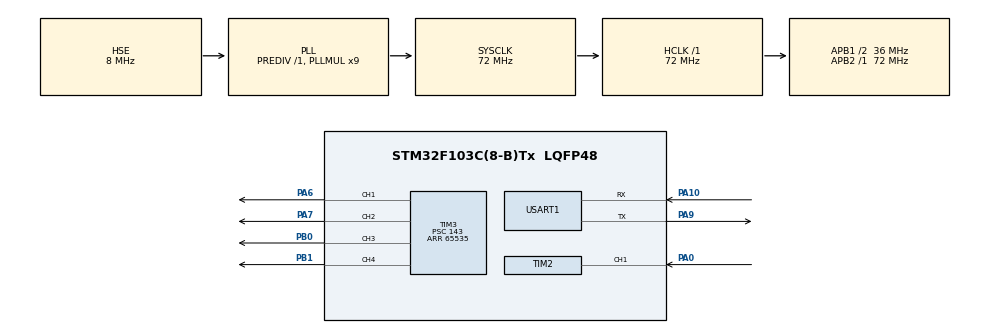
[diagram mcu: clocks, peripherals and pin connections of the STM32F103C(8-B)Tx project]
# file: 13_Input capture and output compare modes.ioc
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Mcu.Family=STM32F1
Mcu.Name=STM32F103C(8-B)Tx
Mcu.Package=LQFP48
NVIC.PriorityGroup=NVIC_PRIORITYGROUP_4
NVIC.TIM2_IRQn=true\:0\:0\:false\:false\:true\:true\:true\:true
NVIC.TIM3_IRQn=true\:0\:0\:false\:false\:true\:true\:true\:true
PA0-WKUP.Signal=S_TIM2_CH1_ETR
PA10.Mode=Asynchronous
PA10.Signal=USART1_RX
PA13.Mode=Serial_Wire
PA13.Signal=SYS_JTMS-SWDIO
PA14.Mode=Serial_Wire
PA14.Signal=SYS_JTCK-SWCLK
PA6.Signal=S_TIM3_CH1
PA7.Signal=S_TIM3_CH2
PA9.Mode=Asynchronous
PA9.Signal=USART1_TX
PB0.Signal=S_TIM3_CH3
PB1.Signal=S_TIM3_CH4
PD0-OSC_IN.Mode=HSE-External-Oscillator
PD0-OSC_IN.Signal=RCC_OSC_IN
PD1-OSC_OUT.Mode=HSE-External-Oscillator
PD1-OSC_OUT.Signal=RCC_OSC_OUT
ProjectManager.HeapSize=0x200
ProjectManager.StackSize=0x400
ProjectManager.TargetToolchain=STM32CubeIDE
RCC.AHBFreq_Value=72000000
RCC.APB1CLKDivider=RCC_HCLK_DIV2
RCC.APB1Freq_Value=36000000
RCC.APB1TimFreq_Value=72000000
RCC.APB2Freq_Value=72000000
RCC.APB2TimFreq_Value=72000000
RCC.HCLKFreq_Value=72000000
RCC.PLLMUL=RCC_PLL_MUL9
RCC.PLLSourceVirtual=RCC_PLLSOURCE_HSE
RCC.SYSCLKFreq_VALUE=72000000
RCC.SYSCLKSource=RCC_SYSCLKSOURCE_PLLCLK
RCC.USBFreq_Value=72000000
SH.S_TIM2_CH1_ETR.0=TIM2_CH1,Input_Capture1_from_TI1
SH.S_TIM3_CH1.0=TIM3_CH1,Output Compare1 CH1
SH.S_TIM3_CH2.0=TIM3_CH2,Output Compare2 CH2
SH.S_TIM3_CH3.0=TIM3_CH3,Output Compare3 CH3
SH.S_TIM3_CH4.0=TIM3_CH4,Output Compare4 CH4
TIM2.Channel-Input_Capture1_from_TI1=TIM_CHANNEL_1
TIM3.Channel-Output\ Compare1\ CH1=TIM_CHANNEL_1
TIM3.Channel-Output\ Compare2\ CH2=TIM_CHANNEL_2
TIM3.Channel-Output\ Compare3\ CH3=TIM_CHANNEL_3
TIM3.Channel-Output\ Compare4\ CH4=TIM_CHANNEL_4
TIM3.OC1Preload=DISABLE
TIM3.OC2Preload=DISABLE
TIM3.OC3Preload=DISABLE
TIM3.OC4Preload=DISABLE
TIM3.OCMode_1=TIM_OCMODE_TOGGLE
TIM3.OCMode_2=TIM_OCMODE_TOGGLE
TIM3.OCMode_3=TIM_OCMODE_TOGGLE
TIM3.OCMode_4=TIM_OCMODE_TOGGLE
TIM3.Period=65535
TIM3.Prescaler=143
TIM3.Pulse-Output\ Compare1\ CH1=2
TIM3.Pulse-Output\ Compare2\ CH2=2
TIM3.Pulse-Output\ Compare3\ CH3=2
TIM3.Pulse-Output\ Compare4\ CH4=2
USART1.VirtualMode=VM_ASYNC
VP_TIM2_VS_ClockSourceINT.Mode=Internal
VP_TIM3_VS_ClockSourceINT.Mode=Internal
board=custom

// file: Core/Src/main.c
/* USER CODE BEGIN Header */
/**
  ******************************************************************************
  * @file           : main.c
  * @brief          : Main program body
  ******************************************************************************
  * @attention
  *
  * Copyright (c) 2022 STMicroelectronics.
  * All rights reserved.
  *
  * This software is licensed under terms that can be found in the LICENSE file
  * in the root directory of this software component.
  * If no LICENSE file comes with this software, it is provided AS-IS.
  *
  ******************************************************************************
  */
/* USER CODE END Header */
#include "main.h"

/* USER CODE BEGIN Includes */
#include "stdio_usart.h"
/* USER CODE END Includes */

/* USER CODE BEGIN PD */
#define AwaitingCapture		0
#define FirstCapture		1
#define SecondCapture		2
#define F_CLK				72000000UL
/* USER CODE END PD */

 TIM_HandleTypeDef htim2;
TIM_HandleTypeDef htim3;

UART_HandleTypeDef huart1;

/* USER CODE BEGIN PV */
volatile uint8_t  captureState = AwaitingCapture;
volatile uint16_t TIM2_overFlowCnt = 0;
volatile uint32_t T1 = 0;
volatile uint32_t T2 = 0;
/* USER CODE END PV */

void SystemClock_Config(void);
static void MX_GPIO_Init(void);
static void MX_TIM2_Init(void);
static void MX_USART1_UART_Init(void);
static void MX_TIM3_Init(void);

int main(void)
{

  /* MCU Configuration--------------------------------------------------------*/

  /* Reset of all peripherals, Initializes the Flash interface and the Systick. */
  HAL_Init();

  /* Configure the system clock */
  SystemClock_Config();

  /* Initialize all configured peripherals */
  MX_GPIO_Init();
  MX_TIM2_Init();
  MX_USART1_UART_Init();
  MX_TIM3_Init();
  /* USER CODE BEGIN 2 */
  uint32_t Ticks = 0;
  uint32_t Frequency = 0;

  RetargetInit(&huart1);
  HAL_TIM_Base_Start_IT(&htim2);
  HAL_TIM_IC_Start_IT(&htim2, TIM_CHANNEL_1);
  HAL_TIM_Base_Start_IT(&htim3);
  HAL_TIM_OC_Start_IT(&htim3, TIM_CHANNEL_1);
  HAL_TIM_OC_Start_IT(&htim3, TIM_CHANNEL_2);
  HAL_TIM_OC_Start_IT(&htim3, TIM_CHANNEL_3);
  HAL_TIM_OC_Start_IT(&htim3, TIM_CHANNEL_4);

  printf("begin! \r\n");
  /* USER CODE END 2 */

  /* Infinite loop */
  /* USER CODE BEGIN WHILE */
  while (1)
  {
	  	// compute and print the input signal's frquency, whenever 2 captures occur
	  	if(captureState == SecondCapture)
	    {
	        Ticks = (T2 + (TIM2_overFlowCnt * 65536)) - T1;
	        Frequency = (uint32_t)(F_CLK/Ticks);
	        if(Frequency)
	        {
	        	printf("Frequency = %lu Hz Overflow count = %u\n\r", Frequency,TIM2_overFlowCnt);
	        }
	        captureState = AwaitingCapture;
	    }
    /* USER CODE END WHILE */

  }
}

void SystemClock_Config(void)
{
  RCC_OscInitTypeDef RCC_OscInitStruct = {0};
  RCC_ClkInitTypeDef RCC_ClkInitStruct = {0};

  /** Initializes the RCC Oscillators according to the specified parameters
  * in the RCC_OscInitTypeDef structure.
  */
  RCC_OscInitStruct.OscillatorType = RCC_OSCILLATORTYPE_HSE;
  RCC_OscInitStruct.HSEState = RCC_HSE_ON;
  RCC_OscInitStruct.HSEPredivValue = RCC_HSE_PREDIV_DIV1;
  RCC_OscInitStruct.HSIState = RCC_HSI_ON;
  RCC_OscInitStruct.PLL.PLLState = RCC_PLL_ON;
  RCC_OscInitStruct.PLL.PLLSource = RCC_PLLSOURCE_HSE;
  RCC_OscInitStruct.PLL.PLLMUL = RCC_PLL_MUL9;
  if (HAL_RCC_OscConfig(&RCC_OscInitStruct) != HAL_OK)
  {
    Error_Handler();
  }

  /** Initializes the CPU, AHB and APB buses clocks
  */
  RCC_ClkInitStruct.ClockType = RCC_CLOCKTYPE_HCLK|RCC_CLOCKTYPE_SYSCLK
                              |RCC_CLOCKTYPE_PCLK1|RCC_CLOCKTYPE_PCLK2;
  RCC_ClkInitStruct.SYSCLKSource = RCC_SYSCLKSOURCE_PLLCLK;
  RCC_ClkInitStruct.AHBCLKDivider = RCC_SYSCLK_DIV1;
  RCC_ClkInitStruct.APB1CLKDivider = RCC_HCLK_DIV2;
  RCC_ClkInitStruct.APB2CLKDivider = RCC_HCLK_DIV1;

  if (HAL_RCC_ClockConfig(&RCC_ClkInitStruct, FLASH_LATENCY_2) != HAL_OK)
  {
    Error_Handler();
  }
}

static void MX_TIM2_Init(void)
{

  TIM_ClockConfigTypeDef sClockSourceConfig = {0};
  TIM_MasterConfigTypeDef sMasterConfig = {0};
  TIM_IC_InitTypeDef sConfigIC = {0};

  htim2.Instance = TIM2;
  htim2.Init.Prescaler = 0;
  htim2.Init.CounterMode = TIM_COUNTERMODE_UP;
  htim2.Init.Period = 65535;
  htim2.Init.ClockDivision = TIM_CLOCKDIVISION_DIV1;
  htim2.Init.AutoReloadPreload = TIM_AUTORELOAD_PRELOAD_DISABLE;
  if (HAL_TIM_Base_Init(&htim2) != HAL_OK)
  {
    Error_Handler();
  }
  sClockSourceConfig.ClockSource = TIM_CLOCKSOURCE_INTERNAL;
  if (HAL_TIM_ConfigClockSource(&htim2, &sClockSourceConfig) != HAL_OK)
  {
    Error_Handler();
  }
  if (HAL_TIM_IC_Init(&htim2) != HAL_OK)
  {
    Error_Handler();
  }
  sMasterConfig.MasterOutputTrigger = TIM_TRGO_RESET;
  sMasterConfig.MasterSlaveMode = TIM_MASTERSLAVEMODE_DISABLE;
  if (HAL_TIMEx_MasterConfigSynchronization(&htim2, &sMasterConfig) != HAL_OK)
  {
    Error_Handler();
  }
  sConfigIC.ICPolarity = TIM_INPUTCHANNELPOLARITY_RISING;
  sConfigIC.ICSelection = TIM_ICSELECTION_DIRECTTI;
  sConfigIC.ICPrescaler = TIM_ICPSC_DIV1;
  sConfigIC.ICFilter = 0;
  if (HAL_TIM_IC_ConfigChannel(&htim2, &sConfigIC, TIM_CHANNEL_1) != HAL_OK)
  {
    Error_Handler();
  }

}

static void MX_TIM3_Init(void)
{

  TIM_ClockConfigTypeDef sClockSourceConfig = {0};
  TIM_MasterConfigTypeDef sMasterConfig = {0};
  TIM_OC_InitTypeDef sConfigOC = {0};

  htim3.Instance = TIM3;
  htim3.Init.Prescaler = 143;
  htim3.Init.CounterMode = TIM_COUNTERMODE_UP;
  htim3.Init.Period = 65535;
  htim3.Init.ClockDivision = TIM_CLOCKDIVISION_DIV1;
  htim3.Init.AutoReloadPreload = TIM_AUTORELOAD_PRELOAD_DISABLE;
  if (HAL_TIM_Base_Init(&htim3) != HAL_OK)
  {
    Error_Handler();
  }
  sClockSourceConfig.ClockSource = TIM_CLOCKSOURCE_INTERNAL;
  if (HAL_TIM_ConfigClockSource(&htim3, &sClockSourceConfig) != HAL_OK)
  {
    Error_Handler();
  }
  if (HAL_TIM_OC_Init(&htim3) != HAL_OK)
  {
    Error_Handler();
  }
  sMasterConfig.MasterOutputTrigger = TIM_TRGO_RESET;
  sMasterConfig.MasterSlaveMode = TIM_MASTERSLAVEMODE_DISABLE;
  if (HAL_TIMEx_MasterConfigSynchronization(&htim3, &sMasterConfig) != HAL_OK)
  {
    Error_Handler();
  }
  sConfigOC.OCMode = TIM_OCMODE_TOGGLE;
  sConfigOC.Pulse = 2;
  sConfigOC.OCPolarity = TIM_OCPOLARITY_HIGH;
  sConfigOC.OCFastMode = TIM_OCFAST_DISABLE;
  if (HAL_TIM_OC_ConfigChannel(&htim3, &sConfigOC, TIM_CHANNEL_1) != HAL_OK)
  {
    Error_Handler();
  }
  if (HAL_TIM_OC_ConfigChannel(&htim3, &sConfigOC, TIM_CHANNEL_2) != HAL_OK)
  {
    Error_Handler();
  }
  if (HAL_TIM_OC_ConfigChannel(&htim3, &sConfigOC, TIM_CHANNEL_3) != HAL_OK)
  {
    Error_Handler();
  }
  if (HAL_TIM_OC_ConfigChannel(&htim3, &sConfigOC, TIM_CHANNEL_4) != HAL_OK)
  {
    Error_Handler();
  }
  HAL_TIM_MspPostInit(&htim3);

}

static void MX_USART1_UART_Init(void)
{

  huart1.Instance = USART1;
  huart1.Init.BaudRate = 115200;
  huart1.Init.WordLength = UART_WORDLENGTH_8B;
  huart1.Init.StopBits = UART_STOPBITS_1;
  huart1.Init.Parity = UART_PARITY_NONE;
  huart1.Init.Mode = UART_MODE_TX_RX;
  huart1.Init.HwFlowCtl = UART_HWCONTROL_NONE;
  huart1.Init.OverSampling = UART_OVERSAMPLING_16;
  if (HAL_UART_Init(&huart1) != HAL_OK)
  {
    Error_Handler();
  }

}

static void MX_GPIO_Init(void)
{

  /* GPIO Ports Clock Enable */
  __HAL_RCC_GPIOD_CLK_ENABLE();
  __HAL_RCC_GPIOA_CLK_ENABLE();
  __HAL_RCC_GPIOB_CLK_ENABLE();

}

/* USER CODE BEGIN 4 */
/*********************  TIM2 (Input Capture)  ********************/
void HAL_TIM_IC_CaptureCallback(TIM_HandleTypeDef* htim)
{
    if(captureState == AwaitingCapture)
    {
    	TIM2_overFlowCnt = 0;
	    T1 = TIM2->CCR1;
        captureState = FirstCapture;
    }
    else if(captureState == FirstCapture)
    {
    	T2 = TIM2->CCR1;
        captureState = SecondCapture;
        __HAL_TIM_SetCounter(&htim2, 0);
    }
}

void HAL_TIM_PeriodElapsedCallback(TIM_HandleTypeDef* htim)
{
	TIM2_overFlowCnt++;
}

/********************  TIM3 (Output Compare)  ********************/
void HAL_TIM_OC_DelayElapsedCallback(TIM_HandleTypeDef* htim)
{
	static uint8_t i1 = 1, i2 = 1, i3 = 1, i4 = 1;

	if(__HAL_TIM_GET_IT_SOURCE(&htim3, TIM_IT_CC1) != RESET)
	{
		TIM3->CCR1 = ((i1*((__HAL_TIM_GetAutoreload(&htim3) - 2) / 5)) + 2);

		if(i1 == 5)
			i1 = 0;
		else
			i1++;
	}
	if(__HAL_TIM_GET_IT_SOURCE(&htim3, TIM_IT_CC2) != RESET)
	{
		TIM3->CCR2 = ((i2*((__HAL_TIM_GetAutoreload(&htim3) - 2) / 25)) + 2);

		if(i2 == 25)
			i2 = 0;
		else
			i2++;
	}
	if(__HAL_TIM_GET_IT_SOURCE(&htim3, TIM_IT_CC3) != RESET)
	{
		TIM3->CCR3 = ((i3*((__HAL_TIM_GetAutoreload(&htim3) - 2) / 50)) + 2);

		if(i3 == 50)
			i3 = 0;
		else
			i3++;
	}
	if(__HAL_TIM_GET_IT_SOURCE(&htim3, TIM_IT_CC4) != RESET)
	{
		TIM3->CCR4 = ((i4*((__HAL_TIM_GetAutoreload(&htim3) - 2) / 100)) + 2);

		if(i4 == 100)
			i4 = 0;
		else
			i4++;
	}
}
/* USER CODE END 4 */

void Error_Handler(void)
{
  __disable_irq();
  while (1)
  {
  }
}
